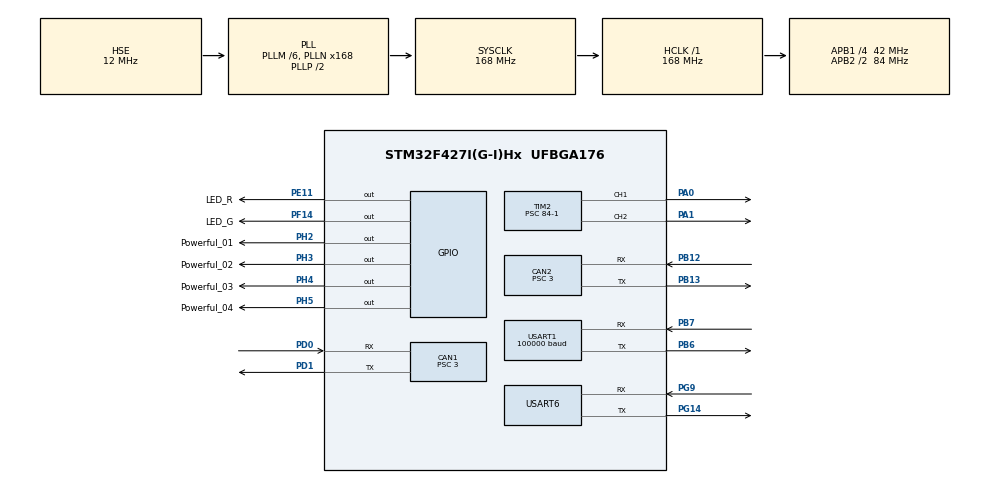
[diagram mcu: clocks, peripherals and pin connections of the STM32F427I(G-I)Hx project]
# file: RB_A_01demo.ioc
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CAN1.BS1=CAN_BS1_10TQ
CAN1.BS2=CAN_BS2_3TQ
CAN1.CalculateBaudRate=1000000
CAN1.CalculateTimeBit=1000
CAN1.CalculateTimeQuantum=71.42857142857143
CAN1.Prescaler=3
CAN2.BS1=CAN_BS1_10TQ
CAN2.BS2=CAN_BS2_3TQ
CAN2.CalculateBaudRate=1000000
CAN2.CalculateTimeBit=1000
CAN2.CalculateTimeQuantum=71.42857142857143
CAN2.Prescaler=3
Dma.Request0=USART1_RX
Dma.Request1=USART6_RX
Dma.Request2=USART6_TX
Dma.USART1_RX.0.Direction=DMA_PERIPH_TO_MEMORY
Dma.USART1_RX.0.FIFOMode=DMA_FIFOMODE_DISABLE
Dma.USART1_RX.0.Instance=DMA2_Stream5
Dma.USART1_RX.0.MemDataAlignment=DMA_MDATAALIGN_BYTE
Dma.USART1_RX.0.MemInc=DMA_MINC_ENABLE
Dma.USART1_RX.0.Mode=DMA_CIRCULAR
Dma.USART1_RX.0.PeriphDataAlignment=DMA_PDATAALIGN_BYTE
Dma.USART1_RX.0.PeriphInc=DMA_PINC_DISABLE
Dma.USART1_RX.0.Priority=DMA_PRIORITY_VERY_HIGH
Dma.USART6_RX.1.Direction=DMA_PERIPH_TO_MEMORY
Dma.USART6_RX.1.FIFOMode=DMA_FIFOMODE_DISABLE
Dma.USART6_RX.1.Instance=DMA2_Stream1
Dma.USART6_RX.1.MemDataAlignment=DMA_MDATAALIGN_BYTE
Dma.USART6_RX.1.MemInc=DMA_MINC_ENABLE
Dma.USART6_RX.1.Mode=DMA_CIRCULAR
Dma.USART6_RX.1.PeriphDataAlignment=DMA_PDATAALIGN_BYTE
Dma.USART6_RX.1.PeriphInc=DMA_PINC_DISABLE
Dma.USART6_RX.1.Priority=DMA_PRIORITY_HIGH
Dma.USART6_TX.2.Direction=DMA_MEMORY_TO_PERIPH
Dma.USART6_TX.2.FIFOMode=DMA_FIFOMODE_DISABLE
Dma.USART6_TX.2.Instance=DMA2_Stream6
Dma.USART6_TX.2.MemDataAlignment=DMA_MDATAALIGN_BYTE
Dma.USART6_TX.2.MemInc=DMA_MINC_ENABLE
Dma.USART6_TX.2.Mode=DMA_NORMAL
Dma.USART6_TX.2.PeriphDataAlignment=DMA_PDATAALIGN_BYTE
Dma.USART6_TX.2.PeriphInc=DMA_PINC_DISABLE
Dma.USART6_TX.2.Priority=DMA_PRIORITY_MEDIUM
FREERTOS.Tasks01=remoteControlTa,0,512,StartControlTask,Default,NULL,Dynamic,NULL,NULL
Mcu.Family=STM32F4
Mcu.Name=STM32F427I(G-I)Hx
Mcu.Package=UFBGA176
NVIC.CAN1_RX0_IRQn=true\:5\:0\:false\:false\:true\:true\:true\:true\:true
NVIC.CAN2_RX0_IRQn=true\:5\:0\:false\:false\:true\:true\:true\:true\:true
NVIC.DMA2_Stream1_IRQn=true\:5\:0\:false\:false\:true\:true\:false\:true\:true
NVIC.DMA2_Stream5_IRQn=true\:5\:0\:false\:false\:true\:true\:false\:true\:true
NVIC.DMA2_Stream6_IRQn=true\:5\:0\:false\:false\:true\:true\:false\:true\:true
NVIC.PriorityGroup=NVIC_PRIORITYGROUP_4
NVIC.TIM4_IRQn=true\:15\:0\:false\:false\:true\:false\:false\:true\:true
NVIC.TimeBase=TIM4_IRQn
NVIC.TimeBaseIP=TIM4
NVIC.USART1_IRQn=true\:5\:0\:false\:false\:true\:true\:true\:true\:true
NVIC.USART6_IRQn=true\:5\:0\:false\:false\:true\:true\:true\:true\:true
PA0/WKUP.Signal=S_TIM2_CH1_ETR
PA1.Signal=S_TIM2_CH2
PA13.Mode=Serial_Wire
PA13.Signal=SYS_JTMS-SWDIO
PA14.Mode=Serial_Wire
PA14.Signal=SYS_JTCK-SWCLK
PB12.Mode=CAN_Activate
PB12.Signal=CAN2_RX
PB13.Mode=CAN_Activate
PB13.Signal=CAN2_TX
PB6.Mode=Asynchronous
PB6.Signal=USART1_TX
PB7.Mode=Asynchronous
PB7.Signal=USART1_RX
PD0.Mode=CAN_Activate
PD0.Signal=CAN1_RX
PD1.Mode=CAN_Activate
PD1.Signal=CAN1_TX
PE11.GPIO_Label=LED_R
PE11.Signal=GPIO_Output
PF14.GPIO_Label=LED_G
PF14.PinState=GPIO_PIN_RESET
PF14.Signal=GPIO_Output
PG14.GPIO_PuPd=GPIO_PULLUP
PG14.Mode=Asynchronous
PG14.Signal=USART6_TX
PG9.GPIO_PuPd=GPIO_PULLUP
PG9.Mode=Asynchronous
PG9.Signal=USART6_RX
PH0/OSC_IN.Mode=HSE-External-Oscillator
PH0/OSC_IN.Signal=RCC_OSC_IN
PH1/OSC_OUT.Mode=HSE-External-Oscillator
PH1/OSC_OUT.Signal=RCC_OSC_OUT
PH2.GPIO_Label=Powerful_01
PH2.GPIO_ModeDefaultOutputPP=GPIO_MODE_OUTPUT_PP
PH2.GPIO_PuPd=GPIO_PULLUP
PH2.PinState=GPIO_PIN_SET
PH2.Signal=GPIO_Output
PH3.GPIO_Label=Powerful_02
PH3.GPIO_PuPd=GPIO_PULLUP
PH3.PinState=GPIO_PIN_SET
PH3.Signal=GPIO_Output
PH4.GPIO_Label=Powerful_03
PH4.GPIO_PuPd=GPIO_PULLUP
PH4.PinState=GPIO_PIN_RESET
PH4.Signal=GPIO_Output
PH5.GPIO_Label=Powerful_04
PH5.GPIO_PuPd=GPIO_PULLUP
PH5.PinState=GPIO_PIN_RESET
PH5.Signal=GPIO_Output
ProjectManager.HeapSize=0x200
ProjectManager.StackSize=0x400
ProjectManager.TargetToolchain=MDK-ARM V5.32
RCC.48MHZClocksFreq_Value=84000000
RCC.AHBFreq_Value=168000000
RCC.APB1CLKDivider=RCC_HCLK_DIV4
RCC.APB1Freq_Value=42000000
RCC.APB1TimFreq_Value=84000000
RCC.APB2CLKDivider=RCC_HCLK_DIV2
RCC.APB2Freq_Value=84000000
RCC.APB2TimFreq_Value=168000000
RCC.CortexFreq_Value=168000000
RCC.HCLKFreq_Value=168000000
RCC.HSE_VALUE=12000000
RCC.HSI_VALUE=16000000
RCC.LSE_VALUE=32768
RCC.PLLM=6
RCC.PLLN=168
RCC.PLLSourceVirtual=RCC_PLLSOURCE_HSE
RCC.SYSCLKFreq_VALUE=168000000
RCC.SYSCLKSource=RCC_SYSCLKSOURCE_PLLCLK
RCC.VCOOutputFreq_Value=336000000
SH.S_TIM2_CH1_ETR.0=TIM2_CH1,PWM Generation1 CH1
SH.S_TIM2_CH2.0=TIM2_CH2,PWM Generation2 CH2
TIM2.Channel-PWM\ Generation1\ CH1=TIM_CHANNEL_1
TIM2.Channel-PWM\ Generation2\ CH2=TIM_CHANNEL_2
TIM2.OCMode_PWM-PWM\ Generation2\ CH2=TIM_OCMODE_PWM1
TIM2.Period=20000-1
TIM2.Prescaler=84-1
TIM2.Pulse-PWM\ Generation1\ CH1=0
TIM2.Pulse-PWM\ Generation2\ CH2=0
USART1.BaudRate=100000
USART1.Parity=PARITY_EVEN
USART1.VirtualMode=VM_ASYNC
USART1.WordLength=WORDLENGTH_8B
USART6.VirtualMode=VM_ASYNC
VP_FREERTOS_VS_CMSIS_V1.Mode=CMSIS_V1
VP_SYS_VS_tim4.Mode=TIM4
VP_TIM2_VS_ClockSourceINT.Mode=Internal
board=custom

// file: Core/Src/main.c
/* USER CODE BEGIN Header */
/**
  ******************************************************************************
  * @file           : main.c
  * @brief          : Main program body
  ******************************************************************************
  * @attention
  *
  * Copyright (c) 2023 STMicroelectronics.
  * All rights reserved.
  *
  * This software is licensed under terms that can be found in the LICENSE file
  * in the root directory of this software component.
  * If no LICENSE file comes with this software, it is provided AS-IS.
  *
  ******************************************************************************
  */
/* USER CODE END Header */
#include "main.h"
#include "cmsis_os.h"
#include "can.h"
#include "dma.h"
#include "tim.h"
#include "usart.h"
#include "gpio.h"

/* USER CODE BEGIN Includes */
#include "remote_control.h"
#include "bsp_can.h"
#include "enginer_task.h"

#include "referee_usart_task.h"
#include "bsp_usart.h"
#include "referee.h"
/* USER CODE END Includes */

void SystemClock_Config(void);
void MX_FREERTOS_Init(void);

int main(void)
{

  /* MCU Configuration--------------------------------------- -----------------*/

  /* Reset of all peripherals, Initializes the Flash interface and the Systick. */
  HAL_Init();

  /* Configure the system clock */
  SystemClock_Config();

  /* Initialize all configured peripherals */
  MX_GPIO_Init();
  MX_DMA_Init();
  MX_CAN1_Init();
  MX_CAN2_Init();
  MX_USART1_UART_Init();
  MX_USART6_UART_Init();
  MX_TIM2_Init();
  /* USER CODE BEGIN 2 */
	HAL_GPIO_WritePin(LED_G_GPIO_Port,LED_G_Pin,GPIO_PIN_SET);
	remote_control_init();
	can_filter_init();

	init_referee_struct_data();
	referee_uart_init();

	HAL_TIM_Base_Start(&htim2);
	HAL_TIM_PWM_Start(&htim2,TIM_CHANNEL_1);
	HAL_TIM_PWM_Start(&htim2,TIM_CHANNEL_2);
  /* USER CODE END 2 */

  /* Call init function for freertos objects (in freertos.c) */
  MX_FREERTOS_Init();

  /* Start scheduler */
  osKernelStart();
  /* We should never get here as control is now taken by the scheduler */
  /* Infinite loop */
  while (1)
  {

  }
}

void SystemClock_Config(void)
{
  RCC_OscInitTypeDef RCC_OscInitStruct = {0};
  RCC_ClkInitTypeDef RCC_ClkInitStruct = {0};

  /** Configure the main internal regulator output voltage
  */
  __HAL_RCC_PWR_CLK_ENABLE();
  __HAL_PWR_VOLTAGESCALING_CONFIG(PWR_REGULATOR_VOLTAGE_SCALE1);

  /** Initializes the RCC Oscillators according to the specified parameters
  * in the RCC_OscInitTypeDef structure.
  */
  RCC_OscInitStruct.OscillatorType = RCC_OSCILLATORTYPE_HSE;
  RCC_OscInitStruct.HSEState = RCC_HSE_ON;
  RCC_OscInitStruct.PLL.PLLState = RCC_PLL_ON;
  RCC_OscInitStruct.PLL.PLLSource = RCC_PLLSOURCE_HSE;
  RCC_OscInitStruct.PLL.PLLM = 6;
  RCC_OscInitStruct.PLL.PLLN = 168;
  RCC_OscInitStruct.PLL.PLLP = RCC_PLLP_DIV2;
  RCC_OscInitStruct.PLL.PLLQ = 4;
  if (HAL_RCC_OscConfig(&RCC_OscInitStruct) != HAL_OK)
  {
    Error_Handler();
  }

  /** Initializes the CPU, AHB and APB buses clocks
  */
  RCC_ClkInitStruct.ClockType = RCC_CLOCKTYPE_HCLK|RCC_CLOCKTYPE_SYSCLK
                              |RCC_CLOCKTYPE_PCLK1|RCC_CLOCKTYPE_PCLK2;
  RCC_ClkInitStruct.SYSCLKSource = RCC_SYSCLKSOURCE_PLLCLK;
  RCC_ClkInitStruct.AHBCLKDivider = RCC_SYSCLK_DIV1;
  RCC_ClkInitStruct.APB1CLKDivider = RCC_HCLK_DIV4;
  RCC_ClkInitStruct.APB2CLKDivider = RCC_HCLK_DIV2;

  if (HAL_RCC_ClockConfig(&RCC_ClkInitStruct, FLASH_LATENCY_5) != HAL_OK)
  {
    Error_Handler();
  }
}

void HAL_TIM_PeriodElapsedCallback(TIM_HandleTypeDef *htim)
{
  if (htim->Instance == TIM4) {
    HAL_IncTick();
  }
}

void Error_Handler(void)
{
  __disable_irq();
  while (1)
  {
  }
}

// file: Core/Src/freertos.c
/* USER CODE BEGIN Header */
/**
  ******************************************************************************
  * File Name          : freertos.c
  * Description        : Code for freertos applications
  ******************************************************************************
  * @attention
  *
  * Copyright (c) 2023 STMicroelectronics.
  * All rights reserved.
  *
  * This software is licensed under terms that can be found in the LICENSE file
  * in the root directory of this software component.
  * If no LICENSE file comes with this software, it is provided AS-IS.
  *
  ******************************************************************************
  */
/* USER CODE END Header */

#include "FreeRTOS.h"
#include "task.h"
#include "main.h"
#include "cmsis_os.h"

/* USER CODE BEGIN Includes */
#include "remote_control.h"
#include "CAN_receive.h"
#include "enginer_task.h"
#include "power_limit_pid.h"
#include "Controler.h"
#include "detect_task.h"
#include "user_lib.h"

#include "keycontrol.h"
#include "RM_Cilent_UI.h"
/* USER CODE END Includes */

/* USER CODE BEGIN PTD */
//chassis_speed_t chassis_speed_set;
/* USER CODE END PTD */

osThreadId remoteControlTaHandle;

/* USER CODE BEGIN FunctionPrototypes */

osThreadId MotorTaskHandle;
osThreadId detect_handle;

void Motor_Task(void const * argument);
void UI_task(void const * argument);

/* USER CODE END FunctionPrototypes */

void StartControlTask(void const * argument);

void MX_FREERTOS_Init(void); /* (MISRA C 2004 rule 8.1) */

/* GetIdleTaskMemory prototype (linked to static allocation support) */
void vApplicationGetIdleTaskMemory( StaticTask_t **ppxIdleTaskTCBBuffer, StackType_t **ppxIdleTaskStackBuffer, uint32_t *pulIdleTaskStackSize );

/* USER CODE BEGIN GET_IDLE_TASK_MEMORY */
static StaticTask_t xIdleTaskTCBBuffer;
static StackType_t xIdleStack[configMINIMAL_STACK_SIZE];

void vApplicationGetIdleTaskMemory( StaticTask_t **ppxIdleTaskTCBBuffer, StackType_t **ppxIdleTaskStackBuffer, uint32_t *pulIdleTaskStackSize )
{
  *ppxIdleTaskTCBBuffer = &xIdleTaskTCBBuffer;
  *ppxIdleTaskStackBuffer = &xIdleStack[0];
  *pulIdleTaskStackSize = configMINIMAL_STACK_SIZE;
  /* place for user code */
}
/* USER CODE END GET_IDLE_TASK_MEMORY */

void MX_FREERTOS_Init(void) {

  /* Create the thread(s) */
  /* definition and creation of remoteControlTa */
  osThreadDef(remoteControlTa, StartControlTask, osPriorityNormal, 0, 512);
  remoteControlTaHandle = osThreadCreate(osThread(remoteControlTa), NULL);

  /* USER CODE BEGIN RTOS_THREADS */
  /* add threads, ... */
	osThreadDef(MOTORTASK, Motor_Task, osPriorityNormal, 0, 512);
  MotorTaskHandle = osThreadCreate(osThread(MOTORTASK), NULL);

	osThreadDef(DETECT, detect_task, osPriorityAboveNormal, 0, 512);
  detect_handle = osThreadCreate(osThread(DETECT), NULL);

	osThreadDef(UITaks, UI_task, osPriorityNormal, 0, 512);
  remoteControlTaHandle = osThreadCreate(osThread(UITaks), NULL);
  /* USER CODE END RTOS_THREADS */

}

void StartControlTask(void const * argument)
{
  /* USER CODE BEGIN StartControlTask */
	osDelay(500);
//    while (toe_is_error(CHASSIS_MOTOR1_TOE) || toe_is_error(CHASSIS_MOTOR2_TOE) || toe_is_error(CHASSIS_MOTOR3_TOE) || toe_is_error(CHASSIS_MOTOR4_TOE))
//    {
//        vTaskDelay(2);
//    }
	first_init();
  /* Infinite loop */
  for(;;)
  {
		key_control_mode();

		Chassis_Spd(chassis_spd);

    osDelay(10);
  }
  /* USER CODE END StartControlTask */
}

/* USER CODE BEGIN Application */

void UI_task(void const * argument)
{
  /* USER CODE BEGIN StartControlTask */
	osDelay(500);

  /* Infinite loop */
  for(;;)
  {
		UI_updata_task();

    osDelay(10);
  }
  /* USER CODE END StartControlTask */
}

/* USER CODE END Application */
